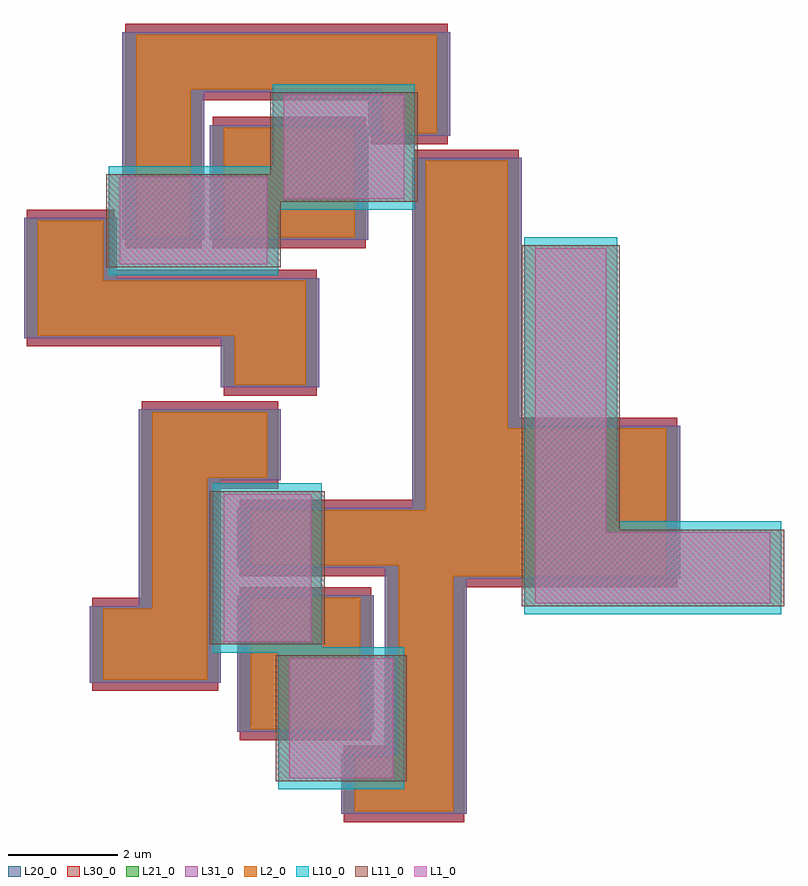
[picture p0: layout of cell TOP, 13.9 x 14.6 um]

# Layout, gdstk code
import gdstk
lib = gdstk.Library(unit=1e-6, precision=1e-09)
def R(c, l, rs):  # rectangles x0, y0, x1, y1
    for r in rs: c.add(gdstk.rectangle(r[:2], r[2:], *l))
def P(c, l, *ps):  # polygons
    for p in ps: c.add(gdstk.Polygon(p, *l))
L1_0 = (1, 0)
L2_0 = (2, 0)
L10_0 = (10, 0)
L11_0 = (11, 0)
L20_0 = (20, 0)
L21_0 = (21, 0)
L30_0 = (30, 0)
L31_0 = (31, 0)

top = lib.new_cell('TOP')
R(top, L1_0, [(3.9,0.9,5.8,3.1), (2.7,3.4,4.3,6.1), (0.8,10.3,3.5,11.9), (3.8,11.5,6,13.4)])
P(top, L1_0, [(8.4,4.1),(8.4,10.6),(9.7,10.6),(9.7,5.4),(12.7,5.4),(12.7,4.1)])
R(top, L2_0, [(3.2,1.8,5.2,4.2), (6.6,4.6,10.8,5.8), (1.4,6.4,3.5,7.6), (-0.7,9,0.5,11.1), (2.7,10.8,5.1,12.8)])
P(top, L2_0, [(6.4,5.8),(6.4,12.2),(7.9,12.2),(7.9,7.3),(10.8,7.3),(10.8,5.8)],
  [(0.5,2.7),(0.5,4),(1.4,4),(1.4,6.4),(2.4,6.4),(2.4,2.7)],
  [(2.9,8.1),(2.9,9),(0.5,9),(0.5,10),(4.2,10),(4.2,8.1)])
R(top, L10_0, [(3.7,0.7,6,3.3), (2.5,3.2,4.5,6.3), (0.6,10.1,3.7,12.1), (3.6,11.3,6.2,13.6)])
P(top, L10_0, [(8.2,3.9),(8.2,10.8),(9.9,10.8),(9.9,5.6),(12.9,5.6),(12.9,3.9)])
R(top, L11_0, [(3.65,0.85,6.05,3.15), (2.45,3.35,4.55,6.15), (0.55,10.25,3.75,11.95), (3.55,11.45,6.25,13.45)])
P(top, L11_0, [(8.15,4.05),(8.15,10.65),(9.95,10.65),(9.95,5.45),(12.95,5.45),(12.95,4.05)])
R(top, L20_0, [(3,1.6,5.4,4.4), (1.2,6.2,3.7,7.8), (-0.9,8.8,0.7,11.3), (2.5,10.6,5.3,13)])
P(top, L20_0, [(6.2,5.6),(6.2,12.4),(8.1,12.4),(8.1,7.5),(11,7.5),(11,5.6)],
  [(4.9,0.1),(4.9,1.5),(5.7,1.5),(5.7,4.6),(3,4.6),(3,6),(11,6),(11,4.4),(7.1,4.4),(7.1,0.1)],
  [(0.3,2.5),(0.3,4.2),(1.2,4.2),(1.2,6.6),(2.6,6.6),(2.6,2.5)],
  [(2.7,7.9),(2.7,8.8),(0.3,8.8),(0.3,10.2),(4.4,10.2),(4.4,7.9)],
  [(0.9,10.6),(0.9,14.7),(6.8,14.7),(6.8,12.5),(5.4,12.5),(5.4,13.3),(2.3,13.3),(2.3,10.6)])
R(top, L21_0, [(2.95,1.75,5.45,4.25), (1.15,6.35,3.75,7.65), (-0.95,8.95,0.75,11.15), (2.45,10.75,5.35,12.85)])
P(top, L21_0, [(6.15,5.75),(6.15,12.25),(8.15,12.25),(8.15,7.35),(11.05,7.35),(11.05,5.75)],
  [(4.85,0.25),(4.85,1.35),(5.65,1.35),(5.65,4.75),(2.95,4.75),(2.95,5.85),(11.05,5.85),(11.05,4.55),(7.15,4.55),(7.15,0.25)],
  [(0.25,2.65),(0.25,4.05),(1.15,4.05),(1.15,6.45),(2.65,6.45),(2.65,2.65)],
  [(2.65,8.05),(2.65,8.95),(0.25,8.95),(0.25,10.05),(4.45,10.05),(4.45,8.05)],
  [(0.85,10.75),(0.85,14.55),(6.85,14.55),(6.85,12.65),(5.35,12.65),(5.35,13.45),(2.35,13.45),(2.35,10.75)])
R(top, L30_0, [(3,1.6,5.4,4.4), (2.5,10.6,5.3,13)])
P(top, L30_0, [(0.3,2.5),(0.3,4.2),(1.2,4.2),(1.2,7.8),(3.7,7.8),(3.7,6.2),(2.6,6.2),(2.6,2.5)],
  [(2.7,7.9),(2.7,8.8),(-0.9,8.8),(-0.9,11.3),(0.7,11.3),(0.7,10.2),(4.4,10.2),(4.4,7.9)],
  [(4.9,0.1),(4.9,1.5),(5.7,1.5),(5.7,4.6),(3,4.6),(3,6),(6.2,6),(6.2,12.4),(8.1,12.4),(8.1,7.5),(11,7.5),(11,4.4),(7.1,4.4),(7.1,0.1)],
  [(0.9,10.6),(0.9,14.7),(6.8,14.7),(6.8,12.5),(5.4,12.5),(5.4,13.3),(2.3,13.3),(2.3,10.6)])
R(top, L31_0, [(2.95,1.75,5.45,4.25), (2.45,10.75,5.35,12.85)])
P(top, L31_0, [(0.25,2.65),(0.25,4.05),(1.15,4.05),(1.15,7.65),(3.75,7.65),(3.75,6.35),(2.65,6.35),(2.65,2.65)],
  [(2.65,8.05),(2.65,8.95),(-0.95,8.95),(-0.95,11.15),(0.75,11.15),(0.75,10.05),(4.45,10.05),(4.45,8.05)],
  [(4.85,0.25),(4.85,1.35),(5.65,1.35),(5.65,4.75),(2.95,4.75),(2.95,5.85),(6.15,5.85),(6.15,12.25),(8.15,12.25),(8.15,7.35),(11.05,7.35),(11.05,4.55),(7.15,4.55),(7.15,0.25)],
  [(0.85,10.75),(0.85,14.55),(6.85,14.55),(6.85,12.65),(5.35,12.65),(5.35,13.45),(2.35,13.45),(2.35,10.75)])
top.add(gdstk.FlexPath([(3.2,5.3),(6.4,5.3),(6.4,0.8),(5.1,0.8)], 1, ends="flush", simple_path=True, layer=2, datatype=0))  # L2_0
top.add(gdstk.FlexPath([(1.6,10.8),(1.6,14),(6.1,14),(6.1,12.7)], 1, ends="flush", simple_path=True, layer=2, datatype=0))  # L2_0

lib.write_gds('TOP.gds')
